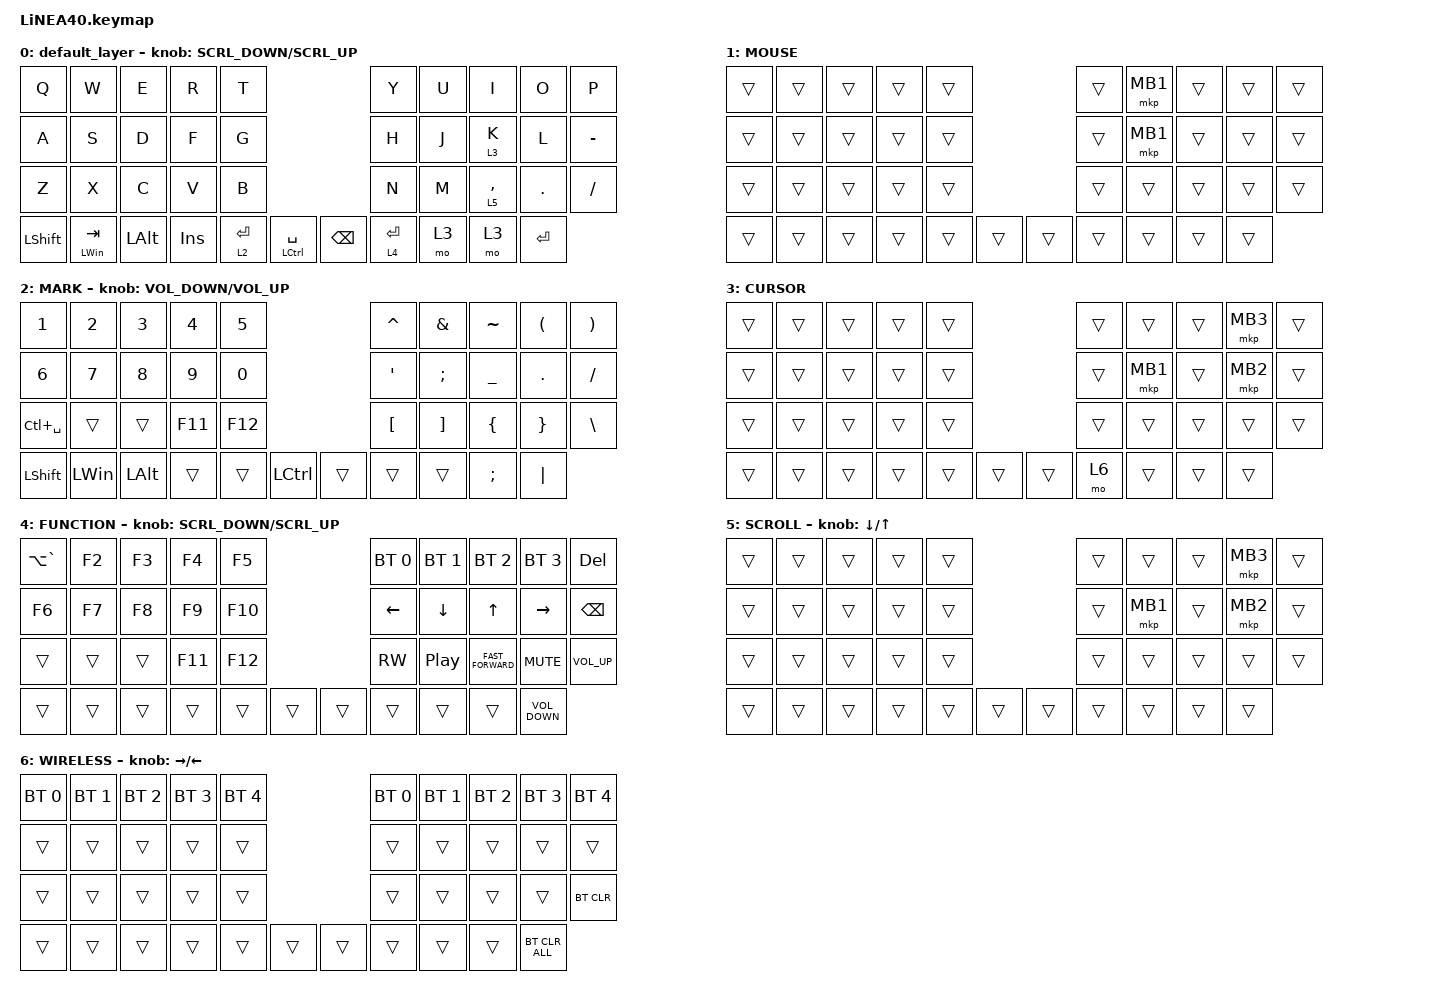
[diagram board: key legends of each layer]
#define ZMK_POINTING_DEFAULT_SCRL_VAL 150

#include <dt-bindings/zmk/input_transform.h>
#include <input/processors.dtsi>
#include <zephyr/dt-bindings/input/input-event-codes.h>
#include <behaviors.dtsi>
#include <dt-bindings/zmk/bt.h>
#include <dt-bindings/zmk/keys.h>
#include <dt-bindings/zmk/pointing.h>

#define MOUSE 1
#define MARK 2
#define CURSOR 3
#define FUNCTION 4
#define SCROLL 5
#define WIRELESS 6

//mouse cursol

&mmv {
    delay-ms = <20>;
    trigger-period-ms = <5>;
    time-to-max-speed-ms = <100>;
    acceleration-exponent = <2>;
};

//mouse scroll

&msc {
    delay-ms = <3>;
    trigger-period-ms = <3>;
    time-to-max-speed-ms = <100>;
    acceleration-exponent = <0>;
};

/ {
    input_processors {
        zip_wheel_scaler: zip_wheel_scaler {
            compatible = "zmk,input-processor-scaler";
            #input-processor-cells = <2>;
            type = <INPUT_EV_REL>;
            codes = <INPUT_REL_WHEEL>;
            track-remainders;
        };
    };
};

&msc_input_listener {
    speed_up {
        layers = <FUNCTION>;
        input-processors = <&zip_wheel_scaler 3 1>; //スクロールを3倍速にする
    };
};

&trackball_listener {
    scroller {
        layers = <SCROLL>;
        input-processors =
            <&zip_xy_transform INPUT_TRANSFORM_Y_INVERT>,
            //スクロール方向を逆転,,,,
            <&zip_xy_to_scroll_mapper>;
    };
};

/ {
    combos {
        compatible = "zmk,combos";

        ZenkakuHankaku {
            bindings = <&kp LANG1>;
            key-positions = <6 7>;
        };

        DeleteKey {
            bindings = <&kp LANG2>;
            key-positions = <7 8>;
        };
    };

    behaviors {
        re_kp: sensor_rotate_kp {
            compatible = "zmk,behavior-sensor-rotate-var";
            #sensor-binding-cells = <2>;
            bindings = <&kp>, <&kp>;
        };

        mouse_scrl: mouse_wheel_scrl {
            compatible = "zmk,behavior-sensor-rotate-var";
            #sensor-binding-cells = <2>;
            bindings = <&msc>, <&msc>;

            tap-ms = <20>;
        };
    };

    keymap {
        compatible = "zmk,keymap";

        default_layer {
            bindings = <
&kp Q       &kp W             &kp E         &kp R    &kp T                                          &kp Y        &kp U  &kp I        &kp O    &kp P
&kp A       &kp S             &kp D         &kp F    &kp G                                          &kp H        &kp J  &lt 3 K      &kp L    &kp MINUS
&kp Z       &kp X             &kp C         &kp V    &kp B                                          &kp N        &kp M  &lt 5 COMMA  &kp DOT  &kp SLASH
&kp LSHIFT  &mt LEFT_WIN TAB  &kp LEFT_ALT  &kp INS  &lt 2 ENTER  &mt LCTRL SPACE    &kp BACKSPACE  &lt 4 ENTER         &mo 3        &mo 3    &kp ENTER
            >;

            sensor-bindings = <&mouse_scrl SCRL_DOWN SCRL_UP>;
        };

        //1

        MOUSE {
            bindings = <
&trans  &trans  &trans  &trans  &trans                    &trans  &mkp MB1  &trans  &trans  &trans
&trans  &trans  &trans  &trans  &trans                    &trans  &mkp MB1  &trans  &trans  &trans
&trans  &trans  &trans  &trans  &trans                    &trans  &trans    &trans  &trans  &trans
&trans  &trans  &trans  &trans  &trans  &trans    &trans  &trans            &trans  &trans  &trans
            >;
        };

        //2

        MARK {
            bindings = <
&kp NUMBER_1   &kp NUMBER_2  &kp NUMBER_3  &kp NUMBER_4  &kp N5                        &kp CARET         &kp AMPERSAND      &kp TILDE       &kp LEFT_PARENTHESIS  &kp RIGHT_PARENTHESIS
&kp NUMBER_6   &kp N7        &kp N8        &kp N9        &kp N0                        &kp APOSTROPHE    &kp SEMI           &kp UNDERSCORE  &kp DOT               &kp SLASH
&kp LC(SPACE)  &trans        &trans        &kp F11       &kp F12                       &kp LEFT_BRACKET  &kp RIGHT_BRACKET  &kp LEFT_BRACE  &kp RIGHT_BRACE       &kp BACKSLASH
&kp LSHFT      &kp LWIN      &kp LALT      &trans        &trans   &kp LCTRL    &trans  &trans                               &trans          &kp SEMI              &kp PIPE
            >;

            sensor-bindings = <&re_kp C_VOLUME_DOWN C_VOLUME_UP>;
        };

        //3

        CURSOR {
            bindings = <
&trans  &trans  &trans  &trans  &trans                    &trans  &trans    &trans  &mkp MB3  &trans
&trans  &trans  &trans  &trans  &trans                    &trans  &mkp MB1  &trans  &mkp MB2  &trans
&trans  &trans  &trans  &trans  &trans                    &trans  &trans    &trans  &trans    &trans
&trans  &trans  &trans  &trans  &trans  &trans    &trans  &mo 6             &trans  &trans    &trans
            >;
        };

        //4

        FUNCTION {
            bindings = <
&kp LA(GRAVE)  &kp F2  &kp F3  &kp F4   &kp F5                     &bt BT_SEL 0  &bt BT_SEL 1      &bt BT_SEL 2        &bt BT_SEL 3  &kp DEL
&kp F6         &kp F7  &kp F8  &kp F9   &kp F10                    &kp LEFT      &kp DOWN          &kp UP_ARROW        &kp RIGHT     &kp BACKSPACE
&trans         &trans  &trans  &kp F11  &kp F12                    &kp C_RW      &kp C_PLAY_PAUSE  &kp C_FAST_FORWARD  &kp C_MUTE    &kp C_VOLUME_UP
&trans         &trans  &trans  &trans   &trans   &trans    &trans  &trans                          &trans              &trans        &kp C_VOLUME_DOWN
            >;

            sensor-bindings = <&mouse_scrl SCRL_DOWN SCRL_UP>;
        };

        //5

        SCROLL {
            bindings = <
&trans  &trans  &trans  &trans  &trans                    &trans  &trans    &trans  &mkp MB3  &trans
&trans  &trans  &trans  &trans  &trans                    &trans  &mkp MB1  &trans  &mkp MB2  &trans
&trans  &trans  &trans  &trans  &trans                    &trans  &trans    &trans  &trans    &trans
&trans  &trans  &trans  &trans  &trans  &trans    &trans  &trans            &trans  &trans    &trans
            >;

            sensor-bindings = <&inc_dec_kp DOWN_ARROW UP_ARROW>;
        };

        //6

        WIRELESS {
            bindings = <
&bt BT_SEL 0  &bt BT_SEL 1  &bt BT_SEL 2  &bt BT_SEL 3  &bt BT_SEL 4                    &bt BT_SEL 0  &bt BT_SEL 1  &bt BT_SEL 2  &bt BT_SEL 3  &bt BT_SEL 4
&trans        &trans        &trans        &trans        &trans                          &trans        &trans        &trans        &trans        &trans
&trans        &trans        &trans        &trans        &trans                          &trans        &trans        &trans        &trans        &bt BT_CLR
&trans        &trans        &trans        &trans        &trans        &trans    &trans  &trans                      &trans        &trans        &bt BT_CLR_ALL
            >;

            sensor-bindings = <&inc_dec_kp RIGHT_ARROW LEFT_ARROW>;
        };
    };
};
